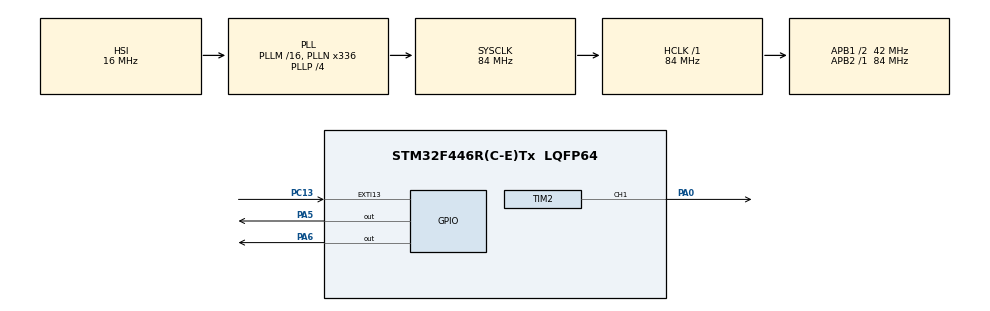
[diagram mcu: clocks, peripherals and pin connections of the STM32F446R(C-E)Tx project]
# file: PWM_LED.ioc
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Mcu.Family=STM32F4
Mcu.Name=STM32F446R(C-E)Tx
Mcu.Package=LQFP64
NUCLEO-F446RE.BUTTON=1
NUCLEO-F446RE.Bsp_Common_DEMO=true
NUCLEO-F446RE.LD1=true
NVIC.EXTI15_10_IRQn=true\:0\:0\:false\:false\:true\:false\:true\:true
NVIC.PriorityGroup=NVIC_PRIORITYGROUP_0
PA0-WKUP.Signal=S_TIM2_CH1_ETR
PA13.GPIO_Label=TMS
PA13.Signal=SYS_JTMS-SWDIO
PA14.GPIO_Label=TCK
PA14.Signal=SYS_JTCK-SWCLK
PA2.GPIO_Label=USART_TX
PA2.Signal=USART2_TX
PA3.GPIO_Label=USART_RX
PA3.Signal=USART2_RX
PA5.Signal=GPIO_Output
PA6.Signal=GPIO_Output
PB3.GPIO_Label=SWO
PB3.Signal=SYS_JTDO-SWO
PC13.Signal=GPXTI13
PC14-OSC32_IN.Signal=RCC_OSC32_IN
PC15-OSC32_OUT.Signal=RCC_OSC32_OUT
PH0-OSC_IN.Signal=RCC_OSC_IN
PH1-OSC_OUT.Signal=RCC_OSC_OUT
ProjectManager.HeapSize=0x200
ProjectManager.StackSize=0x400
ProjectManager.TargetToolchain=CMake
RCC.AHBFreq_Value=84000000
RCC.APB1CLKDivider=RCC_HCLK_DIV2
RCC.APB1Freq_Value=42000000
RCC.APB1TimFreq_Value=84000000
RCC.APB2Freq_Value=84000000
RCC.APB2TimFreq_Value=84000000
RCC.CortexFreq_Value=84000000
RCC.FLatency-AdvancedSettings=FLASH_LATENCY_2
RCC.HCLKFreq_Value=84000000
RCC.HSE_VALUE=8000000
RCC.HSI_VALUE=16000000
RCC.LSE_VALUE=32768
RCC.PLLN=336
RCC.PLLP=RCC_PLLP_DIV4
RCC.SYSCLKFreq_VALUE=84000000
RCC.SYSCLKSource=RCC_SYSCLKSOURCE_PLLCLK
RCC.USBFreq_Value=168000000
RCC.VCOOutputFreq_Value=336000000
SH.S_TIM2_CH1_ETR.0=TIM2_CH1,PWM Generation1 CH1
TIM2.Channel-PWM\ Generation1\ CH1=TIM_CHANNEL_1
TIM2.Period=999
TIM2.Prescaler=83
TIM2.Pulse-PWM\ Generation1\ CH1=500
VP_NUCLEO-F446RE_VS_BSP_COMMON.Mode=COMMON
VP_TIM2_VS_ClockSourceINT.Mode=Internal
board=NUCLEO-F446RE

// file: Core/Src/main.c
/* USER CODE BEGIN Header */
/**
  ******************************************************************************
  * @file           : main.c
  * @brief          : Main program body
  ******************************************************************************
  * @attention
  *
  * Copyright (c) 2026 STMicroelectronics.
  * All rights reserved.
  *
  * This software is licensed under terms that can be found in the LICENSE file
  * in the root directory of this software component.
  * If no LICENSE file comes with this software, it is provided AS-IS.
  *
  ******************************************************************************
  */
/* USER CODE END Header */
#include "main.h"

/* USER CODE BEGIN Includes */
#include "pwm.h"
#include "stdbool.h"
/* USER CODE END Includes */

/* Button state */
#define BUTTON_RELEASED                    0U
#define BUTTON_PRESSED                     1U

__IO uint32_t BspButtonState = BUTTON_RELEASED;
TIM_HandleTypeDef htim2;

void SystemClock_Config(void);
static void MX_GPIO_Init(void);
static void MX_TIM2_Init(void);

int main(void)
{

  /* MCU Configuration--------------------------------------------------------*/

  /* Reset of all peripherals, Initializes the Flash interface and the Systick. */
  HAL_Init();

  /* Configure the system clock */
  SystemClock_Config();

  /* Initialize all configured peripherals */
  MX_GPIO_Init();
  MX_TIM2_Init();
  /* USER CODE BEGIN 2 */

  pwm_t pwm;
  pwm_init(&pwm, &htim2, TIM_CHANNEL_1);
  pwm_start(&pwm);
  pwm_set_duty(&pwm, 0);

  uint32_t last_change = HAL_GetTick();
  uint8_t percentage = 0;
  bool decreasing = false;
  /* USER CODE END 2 */

  /* Initialize leds */
  BSP_LED_Init(LED2);

  /* Initialize USER push-button, will be used to trigger an interrupt each time it's pressed.*/
  BSP_PB_Init(BUTTON_USER, BUTTON_MODE_EXTI);

  /* USER CODE BEGIN BSP */

  /* -- Sample board code to switch on leds ---- */
  BSP_LED_On(LED2);

  /* USER CODE END BSP */

  /* Infinite loop */
  while (1)
  {
    /* USER CODE BEGIN 3 */
    uint32_t now = HAL_GetTick();
    if (now - last_change >= 10) {
        last_change = now;
        if (!decreasing) {
            percentage += 1;
            if (percentage >= 100) {
                decreasing = true;
            }
        } if (decreasing) {
            percentage -= 1;
            if (percentage <= 0) {
                decreasing = false;
            }
        }
        pwm_set_duty(&pwm, percentage);
    }
  }
  /* USER CODE END 3 */
}

void SystemClock_Config(void)
{
  RCC_OscInitTypeDef RCC_OscInitStruct = {0};
  RCC_ClkInitTypeDef RCC_ClkInitStruct = {0};

  /** Configure the main internal regulator output voltage
  */
  __HAL_RCC_PWR_CLK_ENABLE();
  __HAL_PWR_VOLTAGESCALING_CONFIG(PWR_REGULATOR_VOLTAGE_SCALE3);

  /** Initializes the RCC Oscillators according to the specified parameters
  * in the RCC_OscInitTypeDef structure.
  */
  RCC_OscInitStruct.OscillatorType = RCC_OSCILLATORTYPE_HSI;
  RCC_OscInitStruct.HSIState = RCC_HSI_ON;
  RCC_OscInitStruct.HSICalibrationValue = RCC_HSICALIBRATION_DEFAULT;
  RCC_OscInitStruct.PLL.PLLState = RCC_PLL_ON;
  RCC_OscInitStruct.PLL.PLLSource = RCC_PLLSOURCE_HSI;
  RCC_OscInitStruct.PLL.PLLM = 16;
  RCC_OscInitStruct.PLL.PLLN = 336;
  RCC_OscInitStruct.PLL.PLLP = RCC_PLLP_DIV4;
  RCC_OscInitStruct.PLL.PLLQ = 2;
  RCC_OscInitStruct.PLL.PLLR = 2;
  if (HAL_RCC_OscConfig(&RCC_OscInitStruct) != HAL_OK)
  {
    Error_Handler();
  }

  /** Initializes the CPU, AHB and APB buses clocks
  */
  RCC_ClkInitStruct.ClockType = RCC_CLOCKTYPE_HCLK|RCC_CLOCKTYPE_SYSCLK
                              |RCC_CLOCKTYPE_PCLK1|RCC_CLOCKTYPE_PCLK2;
  RCC_ClkInitStruct.SYSCLKSource = RCC_SYSCLKSOURCE_PLLCLK;
  RCC_ClkInitStruct.AHBCLKDivider = RCC_SYSCLK_DIV1;
  RCC_ClkInitStruct.APB1CLKDivider = RCC_HCLK_DIV2;
  RCC_ClkInitStruct.APB2CLKDivider = RCC_HCLK_DIV1;

  if (HAL_RCC_ClockConfig(&RCC_ClkInitStruct, FLASH_LATENCY_2) != HAL_OK)
  {
    Error_Handler();
  }
}

static void MX_TIM2_Init(void)
{

  TIM_ClockConfigTypeDef sClockSourceConfig = {0};
  TIM_MasterConfigTypeDef sMasterConfig = {0};
  TIM_OC_InitTypeDef sConfigOC = {0};

  htim2.Instance = TIM2;
  htim2.Init.Prescaler = 83;
  htim2.Init.CounterMode = TIM_COUNTERMODE_UP;
  htim2.Init.Period = 999;
  htim2.Init.ClockDivision = TIM_CLOCKDIVISION_DIV1;
  htim2.Init.AutoReloadPreload = TIM_AUTORELOAD_PRELOAD_DISABLE;
  if (HAL_TIM_Base_Init(&htim2) != HAL_OK)
  {
    Error_Handler();
  }
  sClockSourceConfig.ClockSource = TIM_CLOCKSOURCE_INTERNAL;
  if (HAL_TIM_ConfigClockSource(&htim2, &sClockSourceConfig) != HAL_OK)
  {
    Error_Handler();
  }
  if (HAL_TIM_PWM_Init(&htim2) != HAL_OK)
  {
    Error_Handler();
  }
  sMasterConfig.MasterOutputTrigger = TIM_TRGO_RESET;
  sMasterConfig.MasterSlaveMode = TIM_MASTERSLAVEMODE_DISABLE;
  if (HAL_TIMEx_MasterConfigSynchronization(&htim2, &sMasterConfig) != HAL_OK)
  {
    Error_Handler();
  }
  sConfigOC.OCMode = TIM_OCMODE_PWM1;
  sConfigOC.Pulse = 500;
  sConfigOC.OCPolarity = TIM_OCPOLARITY_HIGH;
  sConfigOC.OCFastMode = TIM_OCFAST_DISABLE;
  if (HAL_TIM_PWM_ConfigChannel(&htim2, &sConfigOC, TIM_CHANNEL_1) != HAL_OK)
  {
    Error_Handler();
  }
  HAL_TIM_MspPostInit(&htim2);

}

static void MX_GPIO_Init(void)
{
  GPIO_InitTypeDef GPIO_InitStruct = {0};

  /* GPIO Ports Clock Enable */
  __HAL_RCC_GPIOC_CLK_ENABLE();
  __HAL_RCC_GPIOH_CLK_ENABLE();
  __HAL_RCC_GPIOA_CLK_ENABLE();
  __HAL_RCC_GPIOB_CLK_ENABLE();

  /*Configure GPIO pin Output Level */
  HAL_GPIO_WritePin(GPIOA, GPIO_PIN_6, GPIO_PIN_RESET);

  /*Configure GPIO pins : USART_TX_Pin USART_RX_Pin */
  GPIO_InitStruct.Pin = USART_TX_Pin|USART_RX_Pin;
  GPIO_InitStruct.Mode = GPIO_MODE_AF_PP;
  GPIO_InitStruct.Pull = GPIO_NOPULL;
  GPIO_InitStruct.Speed = GPIO_SPEED_FREQ_VERY_HIGH;
  GPIO_InitStruct.Alternate = GPIO_AF7_USART2;
  HAL_GPIO_Init(GPIOA, &GPIO_InitStruct);

  /*Configure GPIO pin : PA6 */
  GPIO_InitStruct.Pin = GPIO_PIN_6;
  GPIO_InitStruct.Mode = GPIO_MODE_OUTPUT_PP;
  GPIO_InitStruct.Pull = GPIO_NOPULL;
  GPIO_InitStruct.Speed = GPIO_SPEED_FREQ_LOW;
  HAL_GPIO_Init(GPIOA, &GPIO_InitStruct);

}

/**
  * @brief EXTI line detection callbacks
  * @param GPIO_Pin: Specifies the pins connected EXTI line
  * @retval None
  */
void HAL_GPIO_EXTI_Callback(uint16_t GPIO_Pin)
{
  if(GPIO_Pin==USER_BUTTON_PIN)
  {
    BspButtonState = BUTTON_PRESSED;
  }
}

void Error_Handler(void)
{
  __disable_irq();
  while (1)
  {
  }
}
